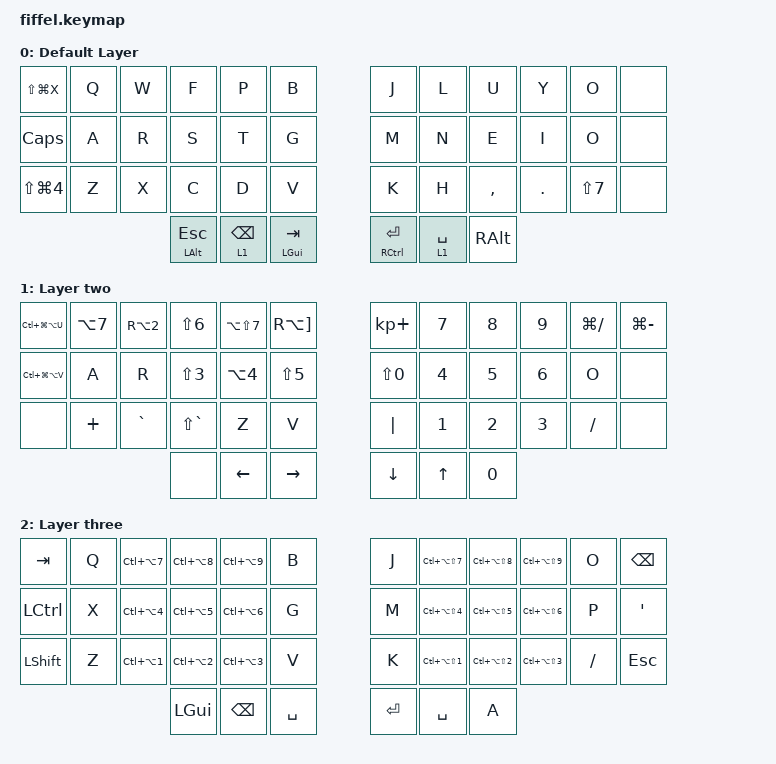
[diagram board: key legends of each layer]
#include <behaviors.dtsi>
#include <dt-bindings/zmk/modifiers.h>
#include <dt-bindings/zmk/keys.h>
#include <dt-bindings/zmk/bt.h>
#include "keypos.dtsi"

#define CAPS_LOCK   &kp CAPS
#define FLAMESHOT   &kp LS(LG(X))
#define SCREENSHOT  &kp LS(LG(N4))
#define ALT_ESC     &mt LALT ESC
#define L1_BSPC     &lt 1 BSPC 
#define CMD_TAB     &mt LGUI TAB
#define CTRL_RET    &mt RCTRL RET 
#define L1_SPC      &lt 1 SPACE 
#define ALT         &kp RALT
#define NONE        &none

&lt {
   quick-tap-ms = <200>;
}; 

&soft_off {
   hold-time-ms = <2000>; // Only turn off it the key is held for 5 seconds or longer.
};

/ {

  combos {
    /* #include "combos_strings.dtsi" */
    #include "keypos.dtsi"
    compatible = "zmk,combos";
        /* Word / phrase combos */
        combo_please {
          timeout-ms = <50>;
          key-positions = <POS_P POS_L>;
          bindings = <&kp LC(LG(LA(A)))>;
          layers = <0>;
        };

        combo_academy {
          timeout-ms = <50>;
          key-positions = <POS_A POS_Y>;
          bindings = <&kp LC(LG(LA(B)))>;
        };

        combo_affiliation {
          timeout-ms = <50>;
          key-positions = <POS_A POS_F POS_N>;
          bindings = <&kp LC(LG(LA(C)))>;
        };

        combo_federation {
          timeout-ms = <50>;
          key-positions = <POS_F POS_E POS_N>;
          bindings = <&kp LC(LG(LA(D)))>;
        };

        combo_page {
          timeout-ms = <50>;
          key-positions = <POS_P POS_E>;
          bindings = <&kp LC(LG(LA(E)))>;
        };

        combo_question {
          timeout-ms = <50>;
          key-positions = <POS_Q POS_N>;
          bindings = <&kp LC(LG(LA(F)))>;
        };

        combo_register {
          timeout-ms = <50>;
          key-positions = <POS_R POS_E>;
          bindings = <&kp LC(LG(LA(G)))>;
        };

        combo_registration {
          timeout-ms = <50>;
          key-positions = <POS_R POS_N>;
          bindings = <&kp LC(LG(LA(H)))>;
        };

        combo_event {
          timeout-ms = <50>;
          key-positions = <POS_E POS_V>;
          bindings = <&kp LC(LG(LA(I)))>;
        };

        combo_user {
          timeout-ms = <50>;
          key-positions = <POS_U POS_S POS_R>;
          bindings = <&kp LC(LG(LA(J)))>;
        };

        combo_access {
          timeout-ms = <50>;
          key-positions = <POS_X POS_S>;
          bindings = <&kp LC(LG(LA(K)))>;
        };

        combo_account {
          timeout-ms = <50>;
          key-positions = <POS_A POS_O>;
          bindings = <&kp LC(LG(LA(L)))>;
        };

        combo_tfe {
          timeout-ms = <75>;
          key-positions = <POS_T POS_F POS_E>;
          bindings = <&kp LC(LG(LA(M)))>;
        };

        combo_organiser {
          timeout-ms = <50>;
          key-positions = <POS_G POS_O>;
          bindings = <&kp LC(LG(LA(N)))>;
        };

        combo_smoothcomp {
          timeout-ms = <50>;
          key-positions = <POS_S POS_M POS_O>;
          bindings = <&kp LC(LG(LA(O)))>;
        };

        combo_email_address {
          timeout-ms = <50>;
          key-positions = <POS_E POS_D>;
          bindings = <&kp LC(LG(LA(P)))>;
        };

        combo_associated {
          timeout-ms = <50>;
          key-positions = <POS_A POS_S POS_O>;
          bindings = <&kp LC(LG(LA(Q)))>;
        };

        combo_have_a_nice_day {
          timeout-ms = <50>;
          key-positions = <POS_K POS_H POS_COM>;
          bindings = <&kp LC(LG(LA(R)))>;
        };

        combo_admin {
          timeout-ms = <50>;
          key-positions = <POS_A POS_M>;
          bindings = <&kp LC(LG(LA(S)))>;
        };

        /* Common editing / punctuation shortcuts (single definition each) */
        combo_copy {
          timeout-ms = <50>;
          key-positions = <POS_T POS_G>;
          bindings = <&kp LG(C)>;
          layers = <0>;
        };

        combo_cut {
          timeout-ms = <50>;
          key-positions = <POS_P POS_B>;
          bindings = <&kp LG(X)>;
          layers = <0>;
        };

        combo_paste {
          timeout-ms = <50>;
          key-positions = <POS_D POS_V>;
          bindings = <&kp LG(V)>;
          layers = <0>;
        };

        combo_esc {
          timeout-ms = <50>;
          key-positions = <POS_E POS_I>;
          bindings = <&kp ESC>;
          layers = <0>;
        };

        combo_alt {
          timeout-ms = <50>;
          key-positions = <14 15>;
          bindings = <&kp LALT>;
          layers = <0>;
        };

        combo_single_quote {
          timeout-ms = <50>;
          key-positions = <8 19>;
          bindings = <&kp BSLH>;
          layers = <0>;
        };

        combo_double_quote {
          timeout-ms = <50>;
          key-positions = <7 18>;
          bindings = <&kp LS(N1)>;
          layers = <0>;
        };

        combo_double_hyphen {
          timeout-ms = <50>;
          key-positions = <POS_T POS_SLSH>;
          bindings = <&kp FSLH>;
          layers = <0>;
        };

        combo_double_lower_hyphen {
          timeout-ms = <50>;
          key-positions = <POS_N POS_D>;
          bindings = <&kp LS(FSLH)>;
          layers = <0>;
        };

        combo_question_mark {
          timeout-ms = <50>;
          key-positions = <8 9>;
          bindings = <&kp LS(MINUS)>;
          layers = <0>;
        };

        combo_bang {
          timeout-ms = <50>;
          key-positions = <1 2>;
          bindings = <&kp LS(N1)>;
          layers = <0>;
        };

        combo_opening_bracket {
          timeout-ms = <50>;
          key-positions = <16 19>;
          bindings = <&kp LA(N8)>;
          layers = <0>;
        };

        combo_closing_bracket {
          timeout-ms = <50>;
          key-positions = <16 20>;
          bindings = <&kp LA(N9)>;
          layers = <0>;
        };

        combo_opening_parent {
          timeout-ms = <50>;
          key-positions = <16 7>;
          bindings = <&kp LS(N8)>;
          layers = <0>;
        };

        combo_closing_parent {
          timeout-ms = <50>;
          key-positions = <16 8>;
          bindings = <&kp LS(N9)>;
          layers = <0>;
        };

        combo_opening_curly {
          timeout-ms = <50>;
          key-positions = <16 31>;
          bindings = <&kp LA(LS(N8))>;
          layers = <0>;
        };

        combo_closing_curly {
          timeout-ms = <50>;
          key-positions = <16 32>;
          bindings = <&kp LA(LS(N9))>;
          layers = <0>;
        };

        /* Scandinavian-specific letters / punctuation combos */
        combo_ret_i_ao {
          timeout-ms = <50>;
          key-positions = <40 8>;
          bindings = <&kp LBKT>;
          layers = <0>;
        };

        combo_ret_i_ae {
          timeout-ms = <50>;
          key-positions = <40 20>;
          bindings = <&kp SQT>;
          layers = <0>;
        };

        combo_ret_i_oe {
          timeout-ms = <50>;
          key-positions = <40 21>;
          bindings = <&kp SCLN>;
          layers = <0>;
        };

        /* Tab navigation / editing */
        combo_tabnext {
          timeout-ms = <50>;
          key-positions = <3 16>;
          bindings = <&kp LC(TAB)>;
          layers = <0>;
        };

        combo_tabprev {
          timeout-ms = <50>;
          key-positions = <2 3>;
          bindings = <&kp LC(LS(TAB))>;
          layers = <0>;
        };

        combo_delete_line {
          timeout-ms = <50>;
          key-positions = <10 11>;
          bindings = <&kp LG(BSPC)>;
          layers = <0>;
        };

        combo_delete_word {
          timeout-ms = <50>;
          key-positions = <POS_R POS_S POS_T>;
          bindings = <&kp LA(BSPC)>;
          layers = <0>;
        };

        combo_select_all {
          timeout-ms = <50>;
          key-positions = <2 3 4>;
          bindings = <&kp LG(A)>;
          layers = <0>;
        };

        combo_word_n {
          timeout-ms = <50>;
          key-positions = <POS_X POS_C>;
          bindings = <&kp LA(LEFT)>;
          layers = <0>;
        };

        combo_word_p {
          timeout-ms = <50>;
          key-positions = <POS_DOT POS_COM>;
          bindings = <&kp LA(RIGHT)>;
          layers = <0>;
        };

        /* combo_layer_nav { */
        /*   timeout-ms = <50>; */
        /*   key-positions = <POS_DOT POS_COM>; */
        /*   bindings = <&kp LA(RIGHT)>; */
        /*   layers = <0>; */
        /* }; */

        combo_l2_left {
          timeout-ms = <50>;
          key-positions = <POS_A POS_R POS_S POS_T>;
          bindings = <&sl 2>;
          layers = <0>;
        };

        combo_l2_right {
          timeout-ms = <50>;
          /* key-positions = <19 20 21 22>; */
          key-positions = <POS_N POS_E POS_I POS_O>;
          bindings = <&sl 2>;
          layers = <0>;
        };

        combo_msft {
          timeout-ms = <50>;
          key-positions = <15 16>;
          bindings = <&kp LSHFT>;
          layers = <0>;
        };

        combo_msft_two {
          timeout-ms = <50>;
          key-positions = <19 20>;
          bindings = <&kp LSHFT>;
          layers = <0>;

        };
  };

  keymap {
    compatible = "zmk,keymap";
    default_layer {
      display-name = "Default Layer";
      bindings = <
/*    ╭───────────┬──────────┬──────────┬──────────┬──────────┬──────────╮        ╭─────────────┬──────────┬──────────┬──────────┬──────────┬──────────╮ */
/*    │           │          │          │          │          │          │        │             │          │          │          │          │          │ */
        FLAMESHOT  &kp Q      &kp W      &kp F      &kp P      &kp B               &kp J         &kp L      &kp U      &kp Y      &kp O         NONE 
/*    ├───────────┼──────────┼──────────┼──────────┼──────────┼──────────┤        ├─────────────┼──────────┼──────────┼──────────┼──────────┼──────────┤ */
/*    │           │          │          │          │          │          │        │             │          │          │          │          │          │ */
        CAPS_LOCK  &kp A      &kp R      &kp S      &kp T      &kp G               &kp M         &kp N      &kp E      &kp I      &kp O         NONE 
/*    ├───────────┼──────────┼──────────┼──────────┼──────────┼──────────┤        ├─────────────┼──────────┼──────────┼──────────┼──────────┼──────────┤ */
/*    │           │          │          │          │          │          │        │             │          │          │          │          │          │ */
       SCREENSHOT  &kp Z      &kp X      &kp C      &kp D      &kp V               &kp K         &kp H      &kp COMMA  &kp DOT    &kp LS(N7)    NONE
/*    ╰───────────┴──────────┴──────────┼──────────┼──────────┼──────────┤        ├─────────────┼──────────┼──────────┼──────────┴──────────┴──────────╯ */
/*                                      │          │          │          │        │             │          │          │                                  */
                                           ALT_ESC    L1_BSPC   CMD_TAB              CTRL_RET      L1_SPC      ALT
/*                                      ╰──────────┴──────────┴──────────╯        ╰─────────────┴──────────┴──────────╯ */
      >;
    };
    layer_two {
      display-name = "Layer two";
      bindings = <
/* #define SLASH       &kp LA(N7) */
/* #define AT          &kp RA(N2) */
/* #define AND         &kp LS(N6)   */
/* #define BACKSLASH   &kp LA(LS(N7)) */
/* #define TILDA       &kp RA(RBKT) */
/* #define HASH        &kp LS(N3) */
/* #define DOLLAR      &kp LA(N4) */
/* #define PROCENT     &kp LS(N5) */
/* #define ODD_TICK    &kp PLUS */
/* #define MORE_THAN   &kp GRAVE  */
/* #define LESS_THAN   &kp LS(GRAVE) */
/**/
/* #define PLS_SIGN    &kp KP_PLUS  */
/* #define ZOOM_IN     &kp LG(FSLH) */
/* #define ZOOM_OUT    &kp LG(MINUS) */
/* #define EQUAL       &kp LS(N0) */
/* #define TIMES       &kp PIPE */

/*    ╭──────────┬───────────┬──────────┬───────────┬───────────────┬─────────────╮   ╭─────────────┬──────────┬──────────┬──────────┬────────────┬─────────────╮ */
/*    │          │     |     │     @    │     &     │       \       │      ~      │   │      +      │    7     │    8     │    9     │  ZOOM IN   │  ZOOM OUT   │ */
       /* &none         SLASH        AT         AND        BACKSLASH        TILDA         &kp KP_PLUS   &kp N7     &kp N8     &kp N9       ZOOM_IN      ZOOM_OUT  */
       &kp LC(LG(LA(U)))      &kp LA(N7)  &kp RA(N2) &kp LS(N6)  &kp LA(LS(N7))  &kp RA(RBKT)      &kp KP_PLUS   &kp N7     &kp N8     &kp N9     &kp LG(FSLH) &kp LG(MINUS)
/*    ├──────────┼───────── ─┼──────────┼───────── ─┼─────     ─────┼─────   ─────┤   ├─────────────┼──────────┼──────────┼──────────┼────────────┼─────────────┤ */
/*    │          │           │          │     #     │       $       │      %      │   │      =      │    8     │    5     │    6     │            │             │ */
       /* &none      &kp A       &kp R         HASH          DOLLAR        PROCENT            EQUAL     &kp N4     &kp N5     &kp N6     &kp O        &none */
       &kp LC(LG(LA(V)))      &kp A       &kp R      &kp LS(N3)  &kp LA(N4)      &kp LS(N5)        &kp LS(N0)    &kp N4     &kp N5     &kp N6     &kp O        &none
/*    ├──────────┼───────────┼──────────┼───────────┼───────────────┼─────────────┤   ├─────────────┼──────────┼──────────┼──────────┼────────────┼─────────────┤ */
/*    │          │     `     │    <     │     >     │               │             │   │      *      │    9     │    2     │    3     │            │             │ */
       /* &none       ODD_TICK   MORE_THAN   LESS_THAN       &none         &kp V              PIPE      &kp N1     &kp N2     &kp N3     &kp FSLH     &none */
       &none      &kp PLUS   &kp GRAVE   &kp LS(GRAVE) &kp Z         &kp V             &kp PIPE      &kp N1     &kp N2     &kp N3     &kp FSLH     &none
/*    ╰──────────┴───────────┴──────────┼───────────┼───────────────┼─────────────┤   ├─────────────┼──────────┼──────────┼──────────┴────────────┴─────────────╯ */
/*                                      │           │               │             │   │             │          │    0     │                                  */
                                         &none       &kp LEFT        &kp RIGHT         &kp DOWN      &kp UP     &kp N0
/*                                      ╰───────────┴───────────────┴─────────────╯   ╰─────────────┴──────────┴──────────╯ */
      >;
    };
    layer_three {
      display-name = "Layer three";
      bindings = <
/*    ╭──────────┬──────────┬──────────────┬──────────────┬───────────────┬──────────╮   ╭──────────┬──────────┬──────────┬──────────┬──────────┬──────────╮ */
/*    │          │          │              │              │               │          │   │          │          │          │          │          │          │ */
       &kp TAB    &kp Q      &kp LC(LA(N7)) &kp LC(LA(N8)) &kp LC(LA(N9))  &kp B          &kp J      &kp LC(LA(LS(N7)))    &kp LC(LA(LS(N8)))    &kp LC(LA(LS(N9)))     &kp O      &kp BSPC
/*    ├──────────┼──────────┼──────────────┼──────────────┼───────────────┼──────────┤   ├──────────┼──────────┼──────────┼──────────┼──────────┼──────────┤ */
/*    │          │          │              │              │               │          │   │          │          │          │          │          │          │ */
       &kp LCTRL  &kp X      &kp LC(LA(N4)) &kp LC(LA(N5)) &kp LC(LA(N6))  &kp G          &kp M      &kp LC(LA(LS(N4)))    &kp LC(LA(LS(N5)))    &kp LC(LA(LS(N6)))      &kp P      &kp SQT
/*    ├──────────┼──────────┼──────────────┼──────────────┼───────────────┼──────────┤   ├──────────┼──────────┼──────────┼──────────┼──────────┼──────────┤ */
/*    │          │          │              │              │               │          │   │          │          │          │          │          │          │ */
       &kp LSHFT  &kp Z      &kp LC(LA(N1)) &kp LC(LA(N2)) &kp LC(LA(N3))  &kp V          &kp K      &kp LC(LA(LS(N1)))    &kp LC(LA(LS(N2)))    &kp LC(LA(LS(N3)))     &kp FSLH   &kp ESC
/*    ╰──────────┴──────────┴──────────────┼──────────────┼───────────────┼──────────┤   ├──────────┼──────────┼──────────┼──────────┴──────────┴──────────╯ */
/*                                         │              │               │          │   │          │          │          │                                  */
                                            &kp LGUI       &kp BSPC        &kp SPACE      &kp RET    &kp SPACE  &kp A 
/*                                         ╰──────────────┴───────────────┴──────────╯   ╰──────────┴──────────┴──────────╯ */
      >;
    };

  };
};

